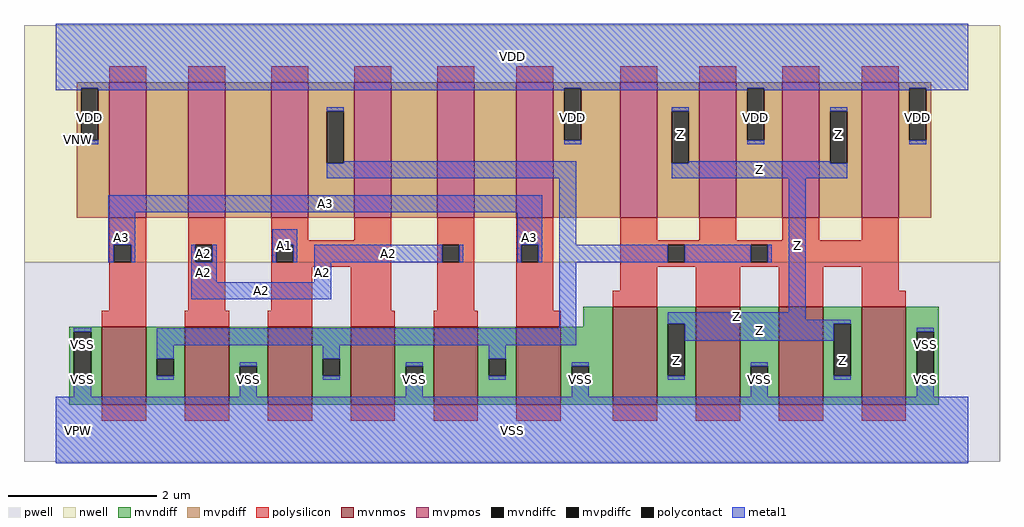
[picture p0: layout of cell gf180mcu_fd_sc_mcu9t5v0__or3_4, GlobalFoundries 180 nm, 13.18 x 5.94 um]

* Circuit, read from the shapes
.subckt gf180mcu_fd_sc_mcu9t5v0__or3_4 A1 A2 A3 Z VDD VNW VPW VSS
XM1 n1 A3 VSS VPW nfet_06v0 w=1.05u l=0.6u m=2
XM2 VSS A2 n1 VPW nfet_06v0 w=1.05u l=0.6u m=2
XM3 n1 A1 VSS VPW nfet_06v0 w=1.05u l=0.6u m=2
XM4 Z n1 VSS VPW nfet_06v0 w=1.32u l=0.6u m=4
XM5 n2 A3 VDD VNW pfet_06v0 w=1.83u l=0.5u
XM6 n3 A2 n2 VNW pfet_06v0 w=1.83u l=0.5u
XM7 n1 A1 n3 VNW pfet_06v0 w=1.83u l=0.5u
XM8 n4 A1 n1 VNW pfet_06v0 w=1.83u l=0.5u
XM9 n5 A2 n4 VNW pfet_06v0 w=1.83u l=0.5u
XM10 VDD A3 n5 VNW pfet_06v0 w=1.83u l=0.5u
XM11 Z n1 VDD VNW pfet_06v0 w=1.83u l=0.5u m=4
.ends

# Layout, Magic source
magic
tech gf180mcuD
magscale 1 10
<< nwell >>
rect -86 453 2550 1094
<< pwell >>
rect -86 -86 2550 453
<< mvnmos >>
rect 124 69 244 279
rect 348 69 468 279
rect 572 69 692 279
rect 796 69 916 279
rect 1020 69 1140 279
rect 1244 69 1364 279
rect 1504 69 1624 333
rect 1728 69 1848 333
rect 1952 69 2072 333
rect 2176 69 2296 333
<< mvpmos >>
rect 144 573 244 939
rect 358 573 458 939
rect 582 573 682 939
rect 806 573 906 939
rect 1030 573 1130 939
rect 1244 573 1344 939
rect 1524 573 1624 939
rect 1738 573 1838 939
rect 1962 573 2062 939
rect 2176 573 2276 939
<< mvndiff >>
rect 1424 279 1504 333
rect 36 266 124 279
rect 36 126 49 266
rect 95 126 124 266
rect 36 69 124 126
rect 244 193 348 279
rect 244 147 273 193
rect 319 147 348 193
rect 244 69 348 147
rect 468 172 572 279
rect 468 126 497 172
rect 543 126 572 172
rect 468 69 572 126
rect 692 193 796 279
rect 692 147 721 193
rect 767 147 796 193
rect 692 69 796 147
rect 916 172 1020 279
rect 916 126 945 172
rect 991 126 1020 172
rect 916 69 1020 126
rect 1140 193 1244 279
rect 1140 147 1169 193
rect 1215 147 1244 193
rect 1140 69 1244 147
rect 1364 172 1504 279
rect 1364 126 1393 172
rect 1439 126 1504 172
rect 1364 69 1504 126
rect 1624 287 1728 333
rect 1624 147 1653 287
rect 1699 147 1728 287
rect 1624 69 1728 147
rect 1848 172 1952 333
rect 1848 126 1877 172
rect 1923 126 1952 172
rect 1848 69 1952 126
rect 2072 287 2176 333
rect 2072 147 2101 287
rect 2147 147 2176 287
rect 2072 69 2176 147
rect 2296 266 2384 333
rect 2296 126 2325 266
rect 2371 126 2384 266
rect 2296 69 2384 126
<< mvpdiff >>
rect 56 923 144 939
rect 56 783 69 923
rect 115 783 144 923
rect 56 573 144 783
rect 244 573 358 939
rect 458 573 582 939
rect 682 861 806 939
rect 682 721 731 861
rect 777 721 806 861
rect 682 573 806 721
rect 906 573 1030 939
rect 1130 573 1244 939
rect 1344 923 1524 939
rect 1344 783 1373 923
rect 1419 783 1524 923
rect 1344 573 1524 783
rect 1624 861 1738 939
rect 1624 721 1663 861
rect 1709 721 1738 861
rect 1624 573 1738 721
rect 1838 923 1962 939
rect 1838 783 1867 923
rect 1913 783 1962 923
rect 1838 573 1962 783
rect 2062 861 2176 939
rect 2062 721 2091 861
rect 2137 721 2176 861
rect 2062 573 2176 721
rect 2276 923 2364 939
rect 2276 783 2305 923
rect 2351 783 2364 923
rect 2276 573 2364 783
<< mvndiffc >>
rect 49 126 95 266
rect 273 147 319 193
rect 497 126 543 172
rect 721 147 767 193
rect 945 126 991 172
rect 1169 147 1215 193
rect 1393 126 1439 172
rect 1653 147 1699 287
rect 1877 126 1923 172
rect 2101 147 2147 287
rect 2325 126 2371 266
<< mvpdiffc >>
rect 69 783 115 923
rect 731 721 777 861
rect 1373 783 1419 923
rect 1663 721 1709 861
rect 1867 783 1913 923
rect 2091 721 2137 861
rect 2305 783 2351 923
<< polysilicon >>
rect 144 939 244 983
rect 358 939 458 983
rect 582 939 682 983
rect 806 939 906 983
rect 1030 939 1130 983
rect 1244 939 1344 983
rect 1524 939 1624 983
rect 1738 939 1838 983
rect 1962 939 2062 983
rect 2176 939 2276 983
rect 144 500 244 573
rect 144 454 157 500
rect 203 454 244 500
rect 144 323 244 454
rect 358 500 458 573
rect 358 454 377 500
rect 423 454 458 500
rect 358 323 458 454
rect 582 513 682 573
rect 806 513 906 573
rect 582 500 906 513
rect 582 454 595 500
rect 641 454 906 500
rect 582 441 906 454
rect 582 323 692 441
rect 124 279 244 323
rect 348 279 468 323
rect 572 279 692 323
rect 796 323 906 441
rect 1030 500 1130 573
rect 1030 454 1043 500
rect 1089 454 1130 500
rect 1030 323 1130 454
rect 1244 500 1344 573
rect 1244 454 1257 500
rect 1303 454 1344 500
rect 1244 323 1344 454
rect 1524 513 1624 573
rect 1738 513 1838 573
rect 1962 513 2062 573
rect 2176 513 2276 573
rect 1524 500 2276 513
rect 1524 454 1653 500
rect 1699 454 1877 500
rect 1923 454 2276 500
rect 1524 441 2276 454
rect 1524 377 1624 441
rect 1504 333 1624 377
rect 1728 333 1848 441
rect 1952 333 2072 441
rect 2176 377 2276 441
rect 2176 333 2296 377
rect 796 279 916 323
rect 1020 279 1140 323
rect 1244 279 1364 323
rect 124 25 244 69
rect 348 25 468 69
rect 572 25 692 69
rect 796 25 916 69
rect 1020 25 1140 69
rect 1244 25 1364 69
rect 1504 25 1624 69
rect 1728 25 1848 69
rect 1952 25 2072 69
rect 2176 25 2296 69
<< polycontact >>
rect 157 454 203 500
rect 377 454 423 500
rect 595 454 641 500
rect 1043 454 1089 500
rect 1257 454 1303 500
rect 1653 454 1699 500
rect 1877 454 1923 500
<< metal1 >>
rect 0 923 2464 1098
rect 0 918 69 923
rect 115 918 1373 923
rect 69 772 115 783
rect 731 861 777 872
rect 1419 918 1867 923
rect 1373 772 1419 783
rect 1663 861 1709 872
rect 777 721 1406 726
rect 731 680 1406 721
rect 1913 918 2305 923
rect 1867 772 1913 783
rect 2091 861 2137 872
rect 1709 721 2091 726
rect 2351 918 2464 923
rect 2305 772 2351 783
rect 1663 680 2137 721
rect 142 588 1314 634
rect 142 500 214 588
rect 584 500 652 542
rect 1246 500 1314 588
rect 142 454 157 500
rect 203 454 214 500
rect 366 454 377 500
rect 423 454 434 500
rect 584 454 595 500
rect 641 454 652 500
rect 698 454 1043 500
rect 1089 454 1100 500
rect 1246 454 1257 500
rect 1303 454 1314 500
rect 1360 500 1406 680
rect 1360 454 1653 500
rect 1699 454 1877 500
rect 1923 454 1934 500
rect 366 400 434 454
rect 698 400 744 454
rect 366 354 744 400
rect 49 266 95 277
rect 1360 275 1406 454
rect 1980 318 2026 680
rect 273 229 1406 275
rect 1653 298 2026 318
rect 1653 287 2147 298
rect 273 193 319 229
rect 721 193 767 229
rect 273 136 319 147
rect 497 172 543 183
rect 49 90 95 126
rect 1169 193 1215 229
rect 721 136 767 147
rect 945 172 991 183
rect 497 90 543 126
rect 1169 136 1215 147
rect 1393 172 1439 183
rect 945 90 991 126
rect 1699 242 2101 287
rect 1653 136 1699 147
rect 1877 172 1923 183
rect 1393 90 1439 126
rect 2101 136 2147 147
rect 2325 266 2371 277
rect 1877 90 1923 126
rect 2325 90 2371 126
rect 0 -90 2464 90
<< labels >>
flabel metal1 s 584 454 652 542 0 FreeSans 200 0 0 0 A1
port 1 nsew default input
flabel metal1 s 698 454 1100 500 0 FreeSans 200 0 0 0 A2
port 2 nsew default input
flabel metal1 s 142 588 1314 634 0 FreeSans 200 0 0 0 A3
port 3 nsew default input
flabel metal1 s 0 918 2464 1098 0 FreeSans 200 0 0 0 VDD
port 5 nsew power bidirectional abutment
flabel metal1 s 2325 183 2371 277 0 FreeSans 200 0 0 0 VSS
port 8 nsew ground bidirectional abutment
flabel metal1 s 2091 726 2137 872 0 FreeSans 200 0 0 0 Z
port 4 nsew default output
flabel nwell s 10 734 110 834 0 FreeSans 400 0 0 0 VNW
port 6 nsew power bidirectional
flabel pwell s 10 -50 110 50 0 FreeSans 400 0 0 0 VPW
port 7 nsew ground bidirectional
rlabel metal1 s 366 454 434 500 1 A2
port 2 nsew default input
rlabel metal1 s 698 400 744 454 1 A2
port 2 nsew default input
rlabel metal1 s 366 400 434 454 1 A2
port 2 nsew default input
rlabel metal1 s 366 354 744 400 1 A2
port 2 nsew default input
rlabel metal1 s 1246 454 1314 588 1 A3
port 3 nsew default input
rlabel metal1 s 142 454 214 588 1 A3
port 3 nsew default input
rlabel metal1 s 1663 726 1709 872 1 Z
port 4 nsew default output
rlabel metal1 s 1663 680 2137 726 1 Z
port 4 nsew default output
rlabel metal1 s 1980 318 2026 680 1 Z
port 4 nsew default output
rlabel metal1 s 1653 298 2026 318 1 Z
port 4 nsew default output
rlabel metal1 s 1653 242 2147 298 1 Z
port 4 nsew default output
rlabel metal1 s 2101 136 2147 242 1 Z
port 4 nsew default output
rlabel metal1 s 1653 136 1699 242 1 Z
port 4 nsew default output
rlabel metal1 s 2305 772 2351 918 1 VDD
port 5 nsew power bidirectional abutment
rlabel metal1 s 1867 772 1913 918 1 VDD
port 5 nsew power bidirectional abutment
rlabel metal1 s 1373 772 1419 918 1 VDD
port 5 nsew power bidirectional abutment
rlabel metal1 s 69 772 115 918 1 VDD
port 5 nsew power bidirectional abutment
rlabel metal1 s 49 183 95 277 1 VSS
port 8 nsew ground bidirectional abutment
rlabel metal1 s 2325 90 2371 183 1 VSS
port 8 nsew ground bidirectional abutment
rlabel metal1 s 1877 90 1923 183 1 VSS
port 8 nsew ground bidirectional abutment
rlabel metal1 s 1393 90 1439 183 1 VSS
port 8 nsew ground bidirectional abutment
rlabel metal1 s 945 90 991 183 1 VSS
port 8 nsew ground bidirectional abutment
rlabel metal1 s 497 90 543 183 1 VSS
port 8 nsew ground bidirectional abutment
rlabel metal1 s 49 90 95 183 1 VSS
port 8 nsew ground bidirectional abutment
rlabel metal1 s 0 -90 2464 90 1 VSS
port 8 nsew ground bidirectional abutment
<< properties >>
string FIXED_BBOX 0 0 2464 1008
string GDS_END 288486
string GDS_FILE $PDKPATH/libs.ref/gf180mcu_fd_sc_mcu9t5v0/gds/gf180mcu_fd_sc_mcu9t5v0.gds
string GDS_START 282820
string LEFclass core
string LEFsite GF018hv5v_green_sc9
string LEFsymmetry X Y
<< end >>
